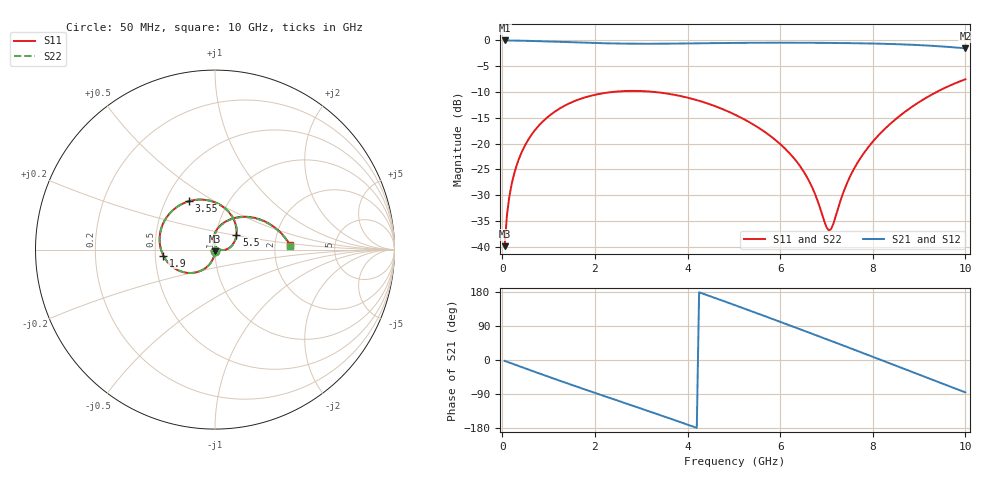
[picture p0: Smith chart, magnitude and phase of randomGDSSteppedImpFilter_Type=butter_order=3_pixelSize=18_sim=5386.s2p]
! freq	dB(S11)	phase(S11)	dB(S12)	phase(S12)
!  dB(S21)	phase(S21)	dB(S22)	phase(S22)
!S-par simulation data
#  GHz  S  DB  R 50
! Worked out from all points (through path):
!   200 points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, 50 MHz to 10 GHz, reference 50 ohm
!   highest |S21| = 0.00 dB at 50 MHz (marker M1); lowest = -1.5 dB at 10 GHz (marker M2)
!   group delay of S21, straight-line fit = 123 ps
!   lowest |S11| = -39.9 dB at 50 MHz (marker M3), VSWR 1.02, Z = 50 - j1.01 ohm
!   |S11| at or under -10 dB: start of sweep to 2.373 GHz; 3.291 GHz to 9.378 GHz (6.087 GHz wide, 96.1 % of centre)
!   |S22| runs from -39.9 to -7.5 dB; largest |S21 - S12| = 0
!   S11 on the Smith chart (normalised r, x): 50 MHz: 1.00, -0.02; 1.9 GHz: 0.55, -0.04; 3.55 GHz: 0.66, +0.39; 5.5 GHz: 1.25, +0.21; 10 GHz: 2.44, +0.14
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0.05  -39.90 -92.0  -0.00 -2.3  -0.00 -2.3  -39.90 -92.0
0.1  -33.90 -94.3  -0.01 -4.5  -0.01 -4.5  -33.90 -94.3
0.2  -27.97 -99.0  -0.02 -9.0  -0.02 -9.0  -27.97 -99.1
0.5  -20.21 -112.9  -0.07 -22.3  -0.07 -22.3  -20.21 -112.9
1  -14.72 -134.9  -0.20 -44.3  -0.20 -44.3  -14.72 -135.0
1.75  -11.15 -167.0  -0.44 -76.3  -0.44 -76.3  -11.15 -167.2
1.9  -10.76 -173.3  -0.48 -82.6  -0.48 -82.6  -10.76 -173.5
2.6  -9.84 157.6  -0.61 -111.7  -0.61 -111.7  -9.83 157.3
3.4  -10.11 124.4  -0.64 -145.0  -0.64 -145.0  -10.11 124.0
3.55  -10.29 118.1  -0.63 -151.4  -0.63 -151.4  -10.29 117.7
4.3  -11.84 86.3  -0.55 176.5  -0.55 176.5  -11.84 85.7
5.05  -14.50 54.0  -0.48 143.5  -0.48 143.5  -14.50 53.2
5.5  -16.75 34.8  -0.45 123.4  -0.45 123.4  -16.74 34.0
6.1  -20.93 10.8  -0.44 96.2  -0.44 96.2  -20.93 9.9
6.7  -28.67 -3.1  -0.46 68.8  -0.46 68.8  -28.68 -3.9
7  -36.21 28.0  -0.48 55.0  -0.48 55.0  -36.16 27.7
7.1  -36.59 60.5  -0.49 50.4  -0.49 50.4  -36.47 59.9
7.6  -24.81 98.6  -0.54 27.2  -0.54 27.2  -24.77 97.5
8.35  -16.40 73.7  -0.68 -8.0  -0.68 -8.0  -16.39 72.8
8.8  -13.17 55.0  -0.82 -29.3  -0.82 -29.3  -13.16 54.3
9.25  -10.62 35.7  -1.03 -50.5  -1.03 -50.5  -10.61 35.1
10  -7.54 3.3  -1.52 -85.4  -1.52 -85.4  -7.53 2.9
